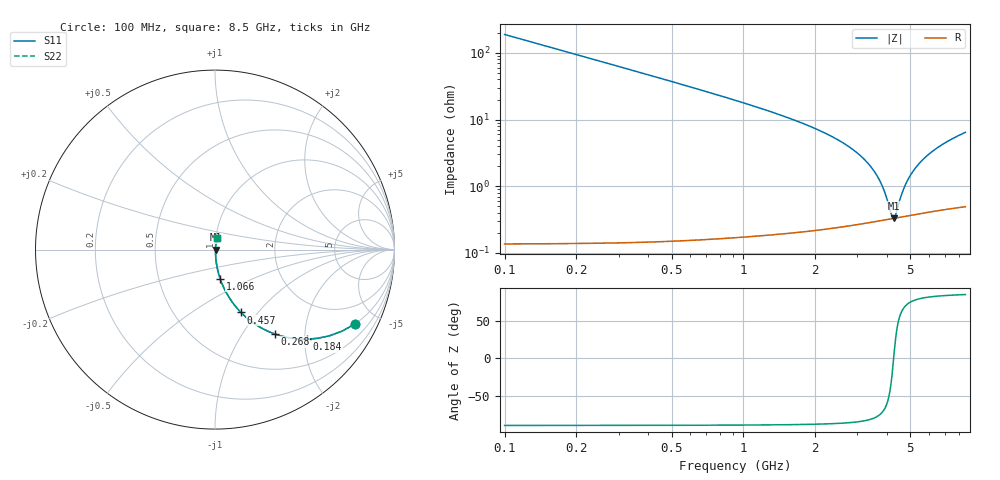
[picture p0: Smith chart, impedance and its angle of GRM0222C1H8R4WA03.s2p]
!Murata Part Number: GRM0222C1H8R4WA03
!These Parameters are Measured in Series Mode Connection
!Data Generated on Mar 30, 2021
!  o--ll--o
!Port1  Port2
!  o------o
!Operation Temp=25[degC], DC Bias Voltage=0[V]
!Freq. Start=100[MHz] Stop=9[GHz] 401[Steps]
# Hz S RI R 50
!Freq.(Hz) S11(Real) S11(Imag) S21(Real) S21(Imag) S12(Real) S12(Imag) S22(Real) S22(Imag)
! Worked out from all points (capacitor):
!   401 points, 100 MHz to 8.5 GHz, reference 50 ohm
!   read as one part in series: C = 8.4 pF near 142 MHz
!   lowest |Z| = 331 mohm at 4.258 GHz (marker M1)
!   series resonance near 4.255 GHz, so ESL is about 170 pH
!   S11 on the Smith chart (normalised r, x): 100 MHz: 1.00, -3.79; 184 MHz: 1.00, -2.06; 268 MHz: 1.00, -1.41; 457 MHz: 1.00, -0.82; 1.066 GHz: 1.00, -0.33; 8.5 GHz: 1.01, +0.13
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1e8  0.7818 -0.4127  0.2182 0.4127  0.2182 0.4127  0.7818 -0.4127
1.84e8  0.5136 -0.4991  0.4864 0.4991  0.4864 0.4991  0.5136 -0.4991
2.68e8  0.3317 -0.4698  0.6683 0.4698  0.6683 0.4698  0.3317 -0.4698
3.52e8  0.2227 -0.4147  0.7773 0.4147  0.7773 0.4147  0.2227 -0.4147
4.57e8  0.1445 -0.3498  0.8555 0.3498  0.8555 0.3498  0.1445 -0.3498
6.88e8  0.0682 -0.2492  0.9318 0.2492  0.9318 0.2492  0.0682 -0.2492
1.066e9  0.0285 -0.1611  0.9715 0.1611  0.9715 0.1611  0.0285 -0.1611
1.507e9  0.0137 -0.1078  0.9863 0.1078  0.9863 0.1078  0.0137 -0.1078
2.914e9  0.00377 -0.0339  0.9962 0.0339  0.9962 0.0339  0.00377 -0.0339
3.334e9  0.00329 -0.0215  0.9967 0.0215  0.9967 0.0215  0.00329 -0.0215
3.649e9  0.00317 -0.0135  0.9968 0.0135  0.9968 0.0135  0.00317 -0.0135
3.901e9  0.00317 -0.00757  0.9968 0.00757  0.9968 0.00757  0.00317 -0.00757
4.174e9  0.00326 -0.00167  0.9967 0.00167  0.9967 0.00167  0.00326 -0.00167
4.258e9  0.00329 6.15e-05  0.9967 -6.15e-05  0.9967 -6.15e-05  0.00329 6.15e-05
4.3e9  0.00332 0.000914  0.9967 -0.000914  0.9967 -0.000914  0.00332 0.000914
4.615e9  0.00352 0.00705  0.9965 -0.00705  0.9965 -0.00705  0.00352 0.00705
4.867e9  0.00373 0.0117  0.9963 -0.0117  0.9963 -0.0117  0.00373 0.0117
5.224e9  0.00407 0.0178  0.9959 -0.0178  0.9959 -0.0178  0.00407 0.0178
5.707e9  0.00463 0.0256  0.9954 -0.0256  0.9954 -0.0256  0.00463 0.0256
6.337e9  0.00546 0.0351  0.9945 -0.0351  0.9945 -0.0351  0.00546 0.0351
7.114e9  0.00662 0.0459  0.9934 -0.0459  0.9934 -0.0459  0.00662 0.0459
8.5e9  0.00898 0.0635  0.991 -0.0635  0.991 -0.0635  0.00898 0.0635
